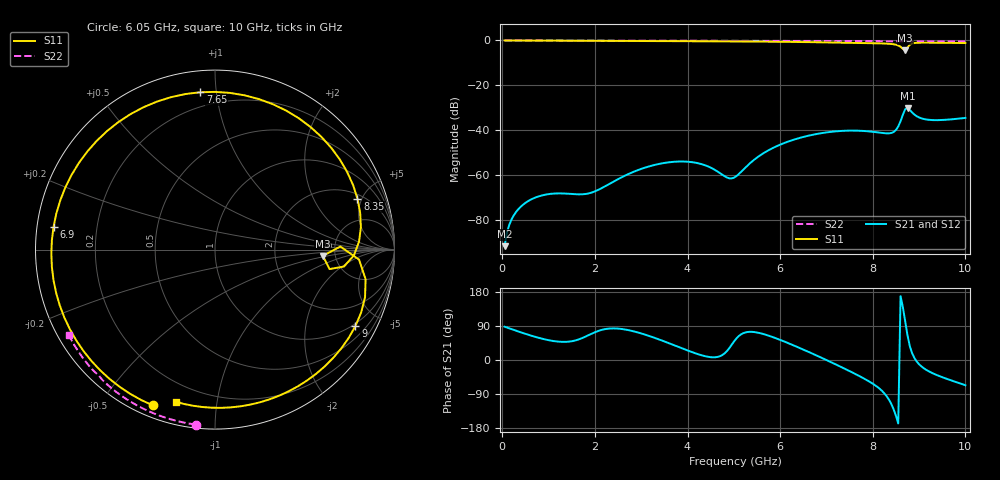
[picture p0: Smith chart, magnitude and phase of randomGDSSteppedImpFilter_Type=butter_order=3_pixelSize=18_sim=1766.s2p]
! freq	dB(S11)	phase(S11)	dB(S12)	phase(S12)
!  dB(S21)	phase(S21)	dB(S22)	phase(S22)
!S-par simulation data
#  GHz  S  DB  R 50
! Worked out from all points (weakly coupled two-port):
!   200 points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, 50 MHz to 10 GHz, reference 50 ohm
!   highest |S21| = -30.08 dB at 8.75 GHz (marker M1); lowest = -91.8 dB at 50 MHz (marker M2)
!   lowest |S11| = -4.4 dB at 8.7 GHz (marker M3), VSWR 4.02, Z = 198 - j21.7 ohm
!   |S11| at or under -10 dB: nowhere
!   |S22| runs from -0.5 to 0.0 dB; largest |S21 - S12| = 0
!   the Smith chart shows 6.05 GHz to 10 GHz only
!   S11 on the Smith chart (normalised r, x): 6.05 GHz: 0.05, -0.68; 6.9 GHz: 0.05, +0.07; 7.65 GHz: 0.12, +0.90; 8.35 GHz: 2.36, +4.62; 9 GHz: 0.90, -3.72; 10 GHz: 0.11, -0.77
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0.05  -0.00 -3.5  -91.75 87.8  -91.75 87.8  -0.00 -0.9
0.95  -0.08 -65.4  -68.70 53.6  -68.70 53.6  -0.02 -16.3
1.75  -0.14 -118.3  -68.58 59.1  -68.58 59.1  -0.04 -29.9
2.6  -0.20 -174.9  -60.79 81.5  -60.79 81.5  -0.06 -43.9
3.4  -0.27 126.0  -55.01 53.6  -55.01 53.6  -0.08 -56.7
3.8  -0.31 92.7  -54.01 34.7  -54.01 34.7  -0.09 -63.0
4.15  -0.35 61.5  -54.45 18.5  -54.45 18.5  -0.10 -68.4
4.6  -0.39 19.5  -57.84 7.3  -57.84 7.3  -0.11 -75.2
5.05  -0.44 -22.8  -60.58 56.0  -60.58 56.0  -0.13 -81.9
5.55  -0.50 -68.2  -51.50 71.3  -51.50 71.3  -0.15 -89.1
6.05  -0.59 -111.8  -46.05 50.7  -46.05 50.7  -0.17 -96.3
6.7  -0.76 -169.3  -42.07 16.7  -42.07 16.7  -0.21 -105.4
6.9  -0.83 172.0  -41.31 5.5  -41.31 5.5  -0.22 -108.1
7.65  -1.11 95.4  -40.23 -38.6  -40.23 -38.6  -0.27 -118.3
7.95  -1.21 62.9  -40.62 -58.7  -40.62 -58.7  -0.29 -122.4
8.35  -1.48 19.6  -41.43 -104.7  -41.43 -104.7  -0.33 -127.8
8.5  -1.90 3.1  -39.93 -147.1  -39.93 -147.1  -0.35 -129.8
8.7  -4.41 -3.3  -30.67 102.9  -30.67 102.9  -0.40 -132.5
8.75  -3.11 1.4  -30.08 65.1  -30.08 65.1  -0.41 -133.0
9  -1.00 -28.6  -34.34 -11.2  -34.34 -11.2  -0.40 -136.3
9.45  -1.02 -66.3  -35.51 -43.1  -35.51 -43.1  -0.44 -142.4
10  -1.15 -104.5  -34.55 -66.6  -34.55 -66.6  -0.51 -149.9
